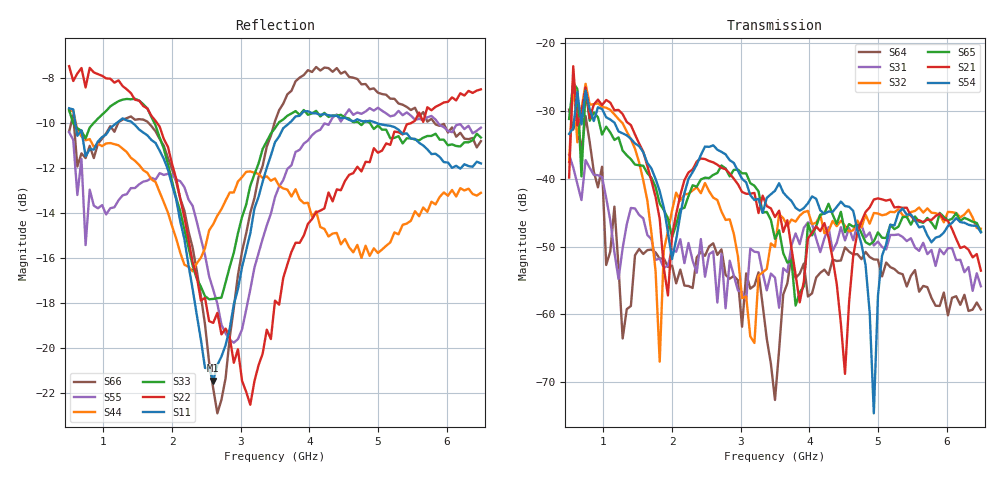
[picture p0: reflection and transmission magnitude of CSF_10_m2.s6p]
!Keysight Technologies,M9804A,MY58100912,A.14.10.03
!Date: Thursday, April 27, 2023 10:28:33
!Correction: S11(C  6-Port  )
!S12(C  6-Port  )
!S13(C  6-Port  )
!S14(C  6-Port  )
!S15(C  6-Port  )
!S16(C  6-Port  )
!S21(C  6-Port  )
!S22(C  6-Port  )
!S23(C  6-Port  )
!S24(C  6-Port  )
!S25(C  6-Port  )
!S26(C  6-Port  )
!S31(C  6-Port  )
!S32(C  6-Port  )
!S33(C  6-Port  )
!S34(C  6-Port  )
!S35(C  6-Port  )
!S36(C  6-Port  )
!S41(C  6-Port  )
!S42(C  6-Port  )
!S43(C  6-Port  )
!S44(C  6-Port  )
!S45(C  6-Port  )
!S46(C  6-Port  )
!S51(C  6-Port  )
!S52(C  6-Port  )
!S53(C  6-Port  )
!S54(C  6-Port  )
!S55(C  6-Port  )
!S56(C  6-Port  )
!S61(C  6-Port  )
!S62(C  6-Port  )
!S63(C  6-Port  )
!S64(C  6-Port  )
!S65(C  6-Port  )
!S66(C  6-Port  )
!S6P File: Measurement: :
# Hz S  RI  R 50
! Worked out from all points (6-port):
!   101 points, 500 MHz to 6.5 GHz, reference 50 ohm
!   strongest paths, dB at 500 MHz, 2 GHz, 3.5 GHz, 5 GHz, 6.5 GHz:
!     S54: -33.4, -51.8, -41.8, -57.3, -47.9
!     S21: -39.8, -48.3, -45.6, -42.9, -53.5
!     S65: -31.2, -48.6, -48.9, -47.9, -47.8
!     S32: -37.5, -44.7, -50.0, -45.1, -47.4
!     S31: -36.4, -50.4, -54.6, -49.3, -55.8
!     S64: -29.8, -52.8, -72.6, -51.9, -59.3
!   lowest |S11| = -21.4 dB at 2.6 GHz (marker M1), VSWR 1.19, Z = 42.5 + j2.17 ohm
!   |S11| at or under -10 dB: 590.2 MHz to 1.197 GHz (606.5 MHz wide, 67.9 % of centre); 1.422 GHz to 3.714 GHz (2.292 GHz wide, 89.3 % of centre); 4.969 GHz to end of sweep
